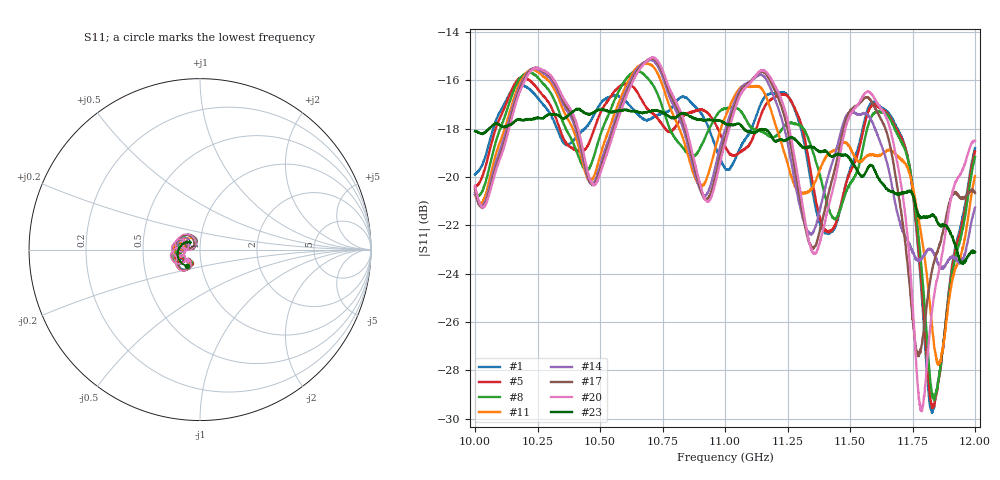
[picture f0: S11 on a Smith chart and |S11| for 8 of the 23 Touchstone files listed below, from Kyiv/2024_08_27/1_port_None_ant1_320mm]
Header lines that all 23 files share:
[Version] 2.0
! Rohde & Schwarz Vector Network Analyzer
! Rohde-Schwarz,ZNL20-2Port,1323001220200009,1.71.1.10-23.02.1.238
! Port Assignments:
! Nominal Port -> Actual Test Port
!  1 -> 1
# Hz S DB R 50
[Number of Ports] 1
! freq[Hz]  S11[mag dB]  S11[ang]
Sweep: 10 GHz to 12 GHz
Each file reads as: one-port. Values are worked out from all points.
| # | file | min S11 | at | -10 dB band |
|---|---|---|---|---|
| 1 | 0.01.s1p | -29.8 dB | 11.83 GHz | over 2 GHz wide |
| 2 | 1.s1p | -29.8 dB | 11.83 GHz | over 2 GHz wide |
| 3 | 2.s1p | -29.7 dB | 11.83 GHz | over 2 GHz wide |
| 4 | 3.s1p | -29.7 dB | 11.83 GHz | over 2 GHz wide |
| 5 | 4.s1p | -29.6 dB | 11.83 GHz | over 2 GHz wide |
| 6 | 5.s1p | -29.5 dB | 11.83 GHz | over 2 GHz wide |
| 7 | 6.s1p | -29.4 dB | 11.84 GHz | over 2 GHz wide |
| 8 | 7.s1p | -29.2 dB | 11.84 GHz | over 2 GHz wide |
| 9 | 8.s1p | -28.9 dB | 11.84 GHz | over 2 GHz wide |
| 10 | 9.s1p | -28.4 dB | 11.85 GHz | over 2 GHz wide |
| 11 | 10.s1p | -27.8 dB | 11.85 GHz | over 2 GHz wide |
| 12 | 11.s1p | -26.8 dB | 11.86 GHz | over 2 GHz wide |
| 13 | 12.s1p | -25.3 dB | 11.87 GHz | over 2 GHz wide |
| 14 | 13.s1p | -23.8 dB | 11.87 GHz | over 2 GHz wide |
| 15 | 14.s1p | -24.9 dB | 11.77 GHz | over 2 GHz wide |
| 16 | 15.s1p | -26.2 dB | 11.77 GHz | over 2 GHz wide |
| 17 | 16.s1p | -27.4 dB | 11.78 GHz | over 2 GHz wide |
| 18 | 17.s1p | -28.3 dB | 11.78 GHz | over 2 GHz wide |
| 19 | 18.s1p | -29.0 dB | 11.78 GHz | over 2 GHz wide |
| 20 | 19.8.s1p | -29.7 dB | 11.79 GHz | over 2 GHz wide |
| 21 | 19.s1p | -29.4 dB | 11.78 GHz | over 2 GHz wide |
| 22 | metal.s1p | -30.8 dB | 11.83 GHz | over 2 GHz wide |
| 23 | noDUT.s1p | -23.6 dB | 11.95 GHz | over 2 GHz wide |
